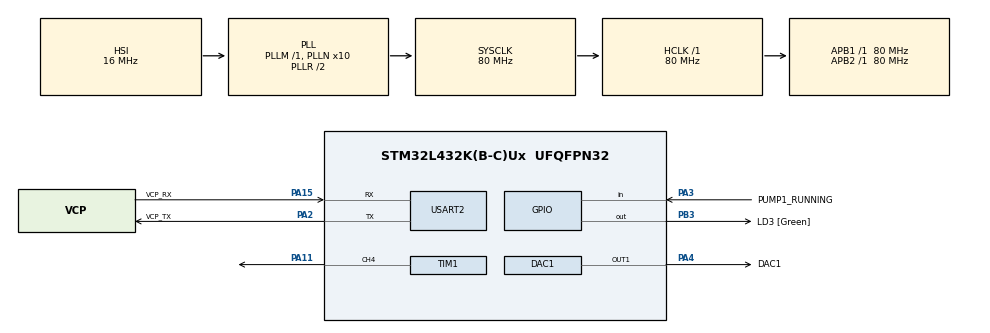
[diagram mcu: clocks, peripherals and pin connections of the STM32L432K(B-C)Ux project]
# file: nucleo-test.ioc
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DAC1.DAC_OutputBuffer-DAC_OUT1=DAC_OUTPUTBUFFER_ENABLE
DAC1.DAC_SampleAndHold-DAC_OUT1=DAC_SAMPLEANDHOLD_DISABLE
DAC1.DAC_UserTrimming-DAC_OUT1=DAC_TRIMMING_FACTORY
Mcu.Family=STM32L4
Mcu.Name=STM32L432K(B-C)Ux
Mcu.Package=UFQFPN32
NVIC.PriorityGroup=NVIC_PRIORITYGROUP_4
NVIC.TIM6_DAC_IRQn=true\:0\:0\:false\:false\:true\:true\:true\:true
PA0.GPIO_Label=MCO [High speed clock in]
PA0.Signal=RCC_CK_IN
PA11.Signal=S_TIM1_CH4
PA13\ (JTMS-SWDIO).GPIO_Label=SWDIO
PA13\ (JTMS-SWDIO).Mode=Serial_Wire
PA13\ (JTMS-SWDIO).Signal=SYS_JTMS-SWDIO
PA14\ (JTCK-SWCLK).GPIO_Label=SWCLK
PA14\ (JTCK-SWCLK).Mode=Serial_Wire
PA14\ (JTCK-SWCLK).Signal=SYS_JTCK-SWCLK
PA15\ (JTDI).GPIO_Label=VCP_RX
PA15\ (JTDI).Mode=Asynchronous
PA15\ (JTDI).Signal=USART2_RX
PA2.GPIO_Label=VCP_TX
PA2.Mode=Asynchronous
PA2.Signal=USART2_TX
PA3.GPIO_Label=PUMP1_RUNNING
PA3.GPIO_PuPd=GPIO_PULLDOWN
PA3.Signal=GPIO_Input
PA4.GPIO_Label=DAC1
PA4.Signal=COMP_DAC11_group
PB3\ (JTDO-TRACESWO).GPIO_Label=LD3 [Green]
PB3\ (JTDO-TRACESWO).Signal=GPIO_Output
PC14-OSC32_IN\ (PC14).Mode=LSE-External-Oscillator
PC14-OSC32_IN\ (PC14).Signal=RCC_OSC32_IN
PC15-OSC32_OUT\ (PC15).Mode=LSE-External-Oscillator
PC15-OSC32_OUT\ (PC15).Signal=RCC_OSC32_OUT
ProjectManager.HeapSize=0x200
ProjectManager.StackSize=0x400
ProjectManager.TargetToolchain=STM32CubeIDE
RCC.ADCFreq_Value=688000000
RCC.AHBFreq_Value=80000000
RCC.APB1Freq_Value=80000000
RCC.APB1TimFreq_Value=80000000
RCC.APB2Freq_Value=80000000
RCC.APB2TimFreq_Value=80000000
RCC.CortexFreq_Value=80000000
RCC.HCLKFreq_Value=80000000
RCC.HSE_VALUE=8000000
RCC.HSI16_VALUE=16000000
RCC.HSI48_VALUE=48000000
RCC.HSI_VALUE=16000000
RCC.MSI_VALUE=4000000
RCC.PLLMUL=RCC_PLLMUL_4
RCC.PLLN=10
RCC.PLLSAI1N=86
RCC.PLLSourceVirtual=RCC_PLLSOURCE_HSI
RCC.SYSCLKFreq_VALUE=80000000
RCC.SYSCLKSource=RCC_SYSCLKSOURCE_PLLCLK
RCC.USBFreq_Value=688000000
RCC.VCOOutputFreq_Value=160000000
SH.COMP_DAC11_group.0=DAC1_OUT1,DAC_OUT1
SH.S_TIM1_CH4.0=TIM1_CH4,PWM Generation4 CH4
TIM1.AutoReloadPreload=TIM_AUTORELOAD_PRELOAD_ENABLE
TIM1.Channel-PWM\ Generation4\ CH4=TIM_CHANNEL_4
TIM6.Period=10000
TIM6.Prescaler=8000
USART2.VirtualMode-Asynchronous=VM_ASYNC
VP_TIM1_VS_ClockSourceINT.Mode=Internal
VP_TIM6_VS_ClockSourceINT.Mode=Enable_Timer
board=NUCLEO-L432KC

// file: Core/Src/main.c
/* USER CODE BEGIN Header */
/**
  ******************************************************************************
  * @file           : main.c
  * @brief          : Main program body
  ******************************************************************************
  * @attention
  *
  * Copyright (c) 2024 STMicroelectronics.
  * All rights reserved.
  *
  * This software is licensed under terms that can be found in the LICENSE file
  * in the root directory of this software component.
  * If no LICENSE file comes with this software, it is provided AS-IS.
  *
  ******************************************************************************
  */
/* USER CODE END Header */
#include "main.h"

/* USER CODE BEGIN Includes */
#include <string.h>

/* USER CODE END Includes */

DAC_HandleTypeDef hdac1;

TIM_HandleTypeDef htim1;
TIM_HandleTypeDef htim6;

UART_HandleTypeDef huart2;

void SystemClock_Config(void);
static void MX_GPIO_Init(void);
static void MX_USART2_UART_Init(void);
static void MX_TIM1_Init(void);
static void MX_DAC1_Init(void);
static void MX_TIM6_Init(void);

/* USER CODE BEGIN 0 */

void blink(uint16_t count, uint8_t fast)
{
	uint16_t dms = fast
			? (uint16_t) 100
			: (uint16_t) 300;

	for (uint16_t i = 0; i < count; i++)
	{
		HAL_GPIO_WritePin(LD3_GPIO_Port, LD3_Pin, GPIO_PIN_SET);
		HAL_Delay(dms);
		HAL_GPIO_WritePin(LD3_GPIO_Port, LD3_Pin, GPIO_PIN_RESET);
		HAL_Delay(dms);
	}
}

// 4-8ma
const uint32_t MAX = 4095;
const uint32_t MIN = 100;

uint32_t wet_well_level = MIN;
int32_t wet_well_increment = 1;

/* USER CODE END 0 */

int main(void)
{

  /* MCU Configuration--------------------------------------------------------*/

  /* Reset of all peripherals, Initializes the Flash interface and the Systick. */
  HAL_Init();

  /* Configure the system clock */
  SystemClock_Config();

  /* Initialize all configured peripherals */
  MX_GPIO_Init();
  MX_USART2_UART_Init();
  MX_TIM1_Init();
  MX_DAC1_Init();
  MX_TIM6_Init();
  /* USER CODE BEGIN 2 */
  // duty cycle = CCR / ARR
  // CCR = duty cycle * ARR
  TIM1->CCR4 = 0 * TIM1->ARR;
  HAL_TIM_PWM_Start(&htim1, TIM_CHANNEL_4);

  HAL_DAC_Start(&hdac1, DAC1_CHANNEL_1);

  HAL_TIM_Base_Start_IT(&htim6);

  /* USER CODE END 2 */

  /* Infinite loop */
  /* USER CODE BEGIN WHILE */
  //char *data = "SOS\r\n\0";
  while (1)
  {
	  // SOS
	  /*
	  HAL_UART_Transmit(&huart2, (uint8_t *)data, strlen(data), HAL_MAX_DELAY);
  	  blink(3, 1);
  	  for (int i = 0; i <= TIM1->ARR; i+=70)
  	  {
  		  TIM1->CCR4 = i;
  		  HAL_Delay(1);
  	  }
  	  blink(3, 0);
  	  for (int i = TIM1->ARR; i >= 0; i-=70)
  	  {
  		  TIM1->CCR4 = i;
  		  HAL_Delay(1);
  	  }
  	  blink(3, 1);
  	  HAL_Delay(1000);
  	  */

	  //TIM1->CCR4 = TIM1->ARR;
	  //HAL_Delay(1000);

	  wet_well_increment = HAL_GPIO_ReadPin(PUMP1_RUNNING_GPIO_Port, PUMP1_RUNNING_Pin) == GPIO_PIN_SET ? -40 : 10                                                                                                                                                                                                                                                                                                                                                                                                                                                                                                                                                                                                                                                                                                                                                 ;

	  HAL_DAC_SetValue(&hdac1, DAC_CHANNEL_1, DAC_ALIGN_12B_R, wet_well_level);
	  HAL_Delay(10);

    /* USER CODE END WHILE */

  }
}

void SystemClock_Config(void)
{
  RCC_OscInitTypeDef RCC_OscInitStruct = {0};
  RCC_ClkInitTypeDef RCC_ClkInitStruct = {0};

  /** Configure the main internal regulator output voltage
  */
  if (HAL_PWREx_ControlVoltageScaling(PWR_REGULATOR_VOLTAGE_SCALE1) != HAL_OK)
  {
    Error_Handler();
  }

  /** Initializes the RCC Oscillators according to the specified parameters
  * in the RCC_OscInitTypeDef structure.
  */
  RCC_OscInitStruct.OscillatorType = RCC_OSCILLATORTYPE_HSI;
  RCC_OscInitStruct.HSIState = RCC_HSI_ON;
  RCC_OscInitStruct.HSICalibrationValue = RCC_HSICALIBRATION_DEFAULT;
  RCC_OscInitStruct.PLL.PLLState = RCC_PLL_ON;
  RCC_OscInitStruct.PLL.PLLSource = RCC_PLLSOURCE_HSI;
  RCC_OscInitStruct.PLL.PLLM = 1;
  RCC_OscInitStruct.PLL.PLLN = 10;
  RCC_OscInitStruct.PLL.PLLP = RCC_PLLP_DIV7;
  RCC_OscInitStruct.PLL.PLLQ = RCC_PLLQ_DIV2;
  RCC_OscInitStruct.PLL.PLLR = RCC_PLLR_DIV2;
  if (HAL_RCC_OscConfig(&RCC_OscInitStruct) != HAL_OK)
  {
    Error_Handler();
  }

  /** Initializes the CPU, AHB and APB buses clocks
  */
  RCC_ClkInitStruct.ClockType = RCC_CLOCKTYPE_HCLK|RCC_CLOCKTYPE_SYSCLK
                              |RCC_CLOCKTYPE_PCLK1|RCC_CLOCKTYPE_PCLK2;
  RCC_ClkInitStruct.SYSCLKSource = RCC_SYSCLKSOURCE_PLLCLK;
  RCC_ClkInitStruct.AHBCLKDivider = RCC_SYSCLK_DIV1;
  RCC_ClkInitStruct.APB1CLKDivider = RCC_HCLK_DIV1;
  RCC_ClkInitStruct.APB2CLKDivider = RCC_HCLK_DIV1;

  if (HAL_RCC_ClockConfig(&RCC_ClkInitStruct, FLASH_LATENCY_4) != HAL_OK)
  {
    Error_Handler();
  }
}

static void MX_DAC1_Init(void)
{

  DAC_ChannelConfTypeDef sConfig = {0};

  /** DAC Initialization
  */
  hdac1.Instance = DAC1;
  if (HAL_DAC_Init(&hdac1) != HAL_OK)
  {
    Error_Handler();
  }

  /** DAC channel OUT1 config
  */
  sConfig.DAC_SampleAndHold = DAC_SAMPLEANDHOLD_DISABLE;
  sConfig.DAC_Trigger = DAC_TRIGGER_NONE;
  sConfig.DAC_OutputBuffer = DAC_OUTPUTBUFFER_ENABLE;
  sConfig.DAC_ConnectOnChipPeripheral = DAC_CHIPCONNECT_DISABLE;
  sConfig.DAC_UserTrimming = DAC_TRIMMING_FACTORY;
  if (HAL_DAC_ConfigChannel(&hdac1, &sConfig, DAC_CHANNEL_1) != HAL_OK)
  {
    Error_Handler();
  }

}

static void MX_TIM1_Init(void)
{

  TIM_ClockConfigTypeDef sClockSourceConfig = {0};
  TIM_MasterConfigTypeDef sMasterConfig = {0};
  TIM_OC_InitTypeDef sConfigOC = {0};
  TIM_BreakDeadTimeConfigTypeDef sBreakDeadTimeConfig = {0};

  htim1.Instance = TIM1;
  htim1.Init.Prescaler = 0;
  htim1.Init.CounterMode = TIM_COUNTERMODE_UP;
  htim1.Init.Period = 65535;
  htim1.Init.ClockDivision = TIM_CLOCKDIVISION_DIV1;
  htim1.Init.RepetitionCounter = 0;
  htim1.Init.AutoReloadPreload = TIM_AUTORELOAD_PRELOAD_ENABLE;
  if (HAL_TIM_Base_Init(&htim1) != HAL_OK)
  {
    Error_Handler();
  }
  sClockSourceConfig.ClockSource = TIM_CLOCKSOURCE_INTERNAL;
  if (HAL_TIM_ConfigClockSource(&htim1, &sClockSourceConfig) != HAL_OK)
  {
    Error_Handler();
  }
  if (HAL_TIM_PWM_Init(&htim1) != HAL_OK)
  {
    Error_Handler();
  }
  sMasterConfig.MasterOutputTrigger = TIM_TRGO_RESET;
  sMasterConfig.MasterOutputTrigger2 = TIM_TRGO2_RESET;
  sMasterConfig.MasterSlaveMode = TIM_MASTERSLAVEMODE_DISABLE;
  if (HAL_TIMEx_MasterConfigSynchronization(&htim1, &sMasterConfig) != HAL_OK)
  {
    Error_Handler();
  }
  sConfigOC.OCMode = TIM_OCMODE_PWM1;
  sConfigOC.Pulse = 0;
  sConfigOC.OCPolarity = TIM_OCPOLARITY_HIGH;
  sConfigOC.OCFastMode = TIM_OCFAST_DISABLE;
  sConfigOC.OCIdleState = TIM_OCIDLESTATE_RESET;
  sConfigOC.OCNIdleState = TIM_OCNIDLESTATE_RESET;
  if (HAL_TIM_PWM_ConfigChannel(&htim1, &sConfigOC, TIM_CHANNEL_4) != HAL_OK)
  {
    Error_Handler();
  }
  sBreakDeadTimeConfig.OffStateRunMode = TIM_OSSR_DISABLE;
  sBreakDeadTimeConfig.OffStateIDLEMode = TIM_OSSI_DISABLE;
  sBreakDeadTimeConfig.LockLevel = TIM_LOCKLEVEL_OFF;
  sBreakDeadTimeConfig.DeadTime = 0;
  sBreakDeadTimeConfig.BreakState = TIM_BREAK_DISABLE;
  sBreakDeadTimeConfig.BreakPolarity = TIM_BREAKPOLARITY_HIGH;
  sBreakDeadTimeConfig.BreakFilter = 0;
  sBreakDeadTimeConfig.Break2State = TIM_BREAK2_DISABLE;
  sBreakDeadTimeConfig.Break2Polarity = TIM_BREAK2POLARITY_HIGH;
  sBreakDeadTimeConfig.Break2Filter = 0;
  sBreakDeadTimeConfig.AutomaticOutput = TIM_AUTOMATICOUTPUT_DISABLE;
  if (HAL_TIMEx_ConfigBreakDeadTime(&htim1, &sBreakDeadTimeConfig) != HAL_OK)
  {
    Error_Handler();
  }
  HAL_TIM_MspPostInit(&htim1);

}

static void MX_TIM6_Init(void)
{

  TIM_MasterConfigTypeDef sMasterConfig = {0};

  htim6.Instance = TIM6;
  htim6.Init.Prescaler = 8000;
  htim6.Init.CounterMode = TIM_COUNTERMODE_UP;
  htim6.Init.Period = 10000;
  htim6.Init.AutoReloadPreload = TIM_AUTORELOAD_PRELOAD_DISABLE;
  if (HAL_TIM_Base_Init(&htim6) != HAL_OK)
  {
    Error_Handler();
  }
  sMasterConfig.MasterOutputTrigger = TIM_TRGO_RESET;
  sMasterConfig.MasterSlaveMode = TIM_MASTERSLAVEMODE_DISABLE;
  if (HAL_TIMEx_MasterConfigSynchronization(&htim6, &sMasterConfig) != HAL_OK)
  {
    Error_Handler();
  }

}

static void MX_USART2_UART_Init(void)
{

  huart2.Instance = USART2;
  huart2.Init.BaudRate = 115200;
  huart2.Init.WordLength = UART_WORDLENGTH_8B;
  huart2.Init.StopBits = UART_STOPBITS_1;
  huart2.Init.Parity = UART_PARITY_NONE;
  huart2.Init.Mode = UART_MODE_TX_RX;
  huart2.Init.HwFlowCtl = UART_HWCONTROL_NONE;
  huart2.Init.OverSampling = UART_OVERSAMPLING_16;
  huart2.Init.OneBitSampling = UART_ONE_BIT_SAMPLE_DISABLE;
  huart2.AdvancedInit.AdvFeatureInit = UART_ADVFEATURE_NO_INIT;
  if (HAL_UART_Init(&huart2) != HAL_OK)
  {
    Error_Handler();
  }

}

static void MX_GPIO_Init(void)
{
  GPIO_InitTypeDef GPIO_InitStruct = {0};

  /* GPIO Ports Clock Enable */
  __HAL_RCC_GPIOC_CLK_ENABLE();
  __HAL_RCC_GPIOA_CLK_ENABLE();
  __HAL_RCC_GPIOB_CLK_ENABLE();

  /*Configure GPIO pin Output Level */
  HAL_GPIO_WritePin(LD3_GPIO_Port, LD3_Pin, GPIO_PIN_RESET);

  /*Configure GPIO pin : PUMP1_RUNNING_Pin */
  GPIO_InitStruct.Pin = PUMP1_RUNNING_Pin;
  GPIO_InitStruct.Mode = GPIO_MODE_INPUT;
  GPIO_InitStruct.Pull = GPIO_PULLDOWN;
  HAL_GPIO_Init(PUMP1_RUNNING_GPIO_Port, &GPIO_InitStruct);

  /*Configure GPIO pin : LD3_Pin */
  GPIO_InitStruct.Pin = LD3_Pin;
  GPIO_InitStruct.Mode = GPIO_MODE_OUTPUT_PP;
  GPIO_InitStruct.Pull = GPIO_NOPULL;
  GPIO_InitStruct.Speed = GPIO_SPEED_FREQ_LOW;
  HAL_GPIO_Init(LD3_GPIO_Port, &GPIO_InitStruct);

}

/* USER CODE BEGIN 4 */
void HAL_TIM_PeriodElapsedCallback(TIM_HandleTypeDef *htim)
{
	if (htim == &htim6)
	{
		int test_value = wet_well_level + wet_well_increment;

		if (test_value < MIN || test_value > MAX)
			return;

		wet_well_level += wet_well_increment;
	}
}

/* USER CODE END 4 */

void Error_Handler(void)
{
  __disable_irq();
  while (1)
  {
  }
}
